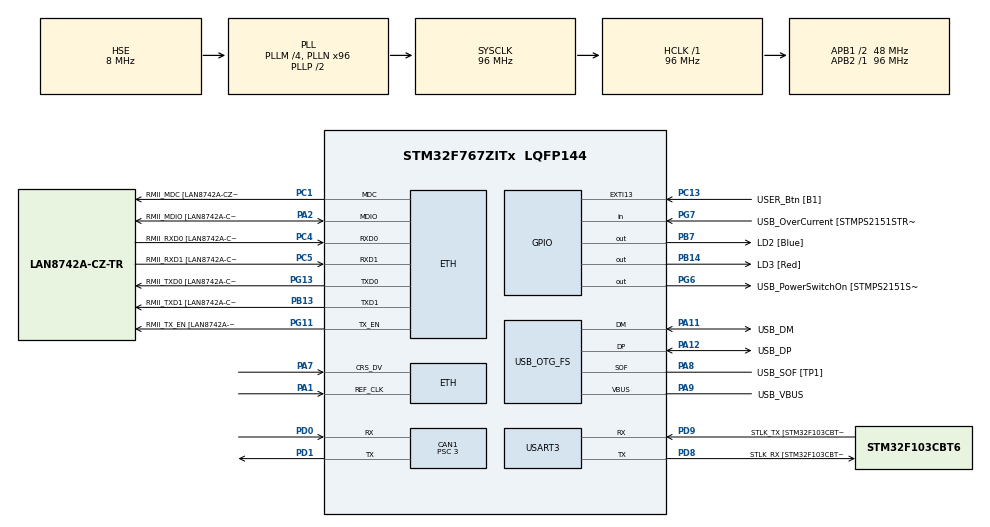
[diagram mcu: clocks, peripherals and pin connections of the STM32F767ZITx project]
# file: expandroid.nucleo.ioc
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CAN1.BS1=CAN_BS1_12TQ
CAN1.BS2=CAN_BS2_3TQ
CAN1.CalculateBaudRate=1000000
CAN1.CalculateTimeBit=1000
CAN1.CalculateTimeQuantum=62.5
CAN1.Prescaler=3
ETH.MediaInterface=HAL_ETH_RMII_MODE
FREERTOS.Events01=buttonPressedEvent,Dynamic,NULL;motorInitEvent,Dynamic,NULL
FREERTOS.INCLUDE_vTaskCleanUpResources=1
FREERTOS.INCLUDE_xEventGroupSetBitFromISR=1
FREERTOS.Queues01=statusMessageQueue,16,uint8_t,0,Static,statusMessageQueueBuffer,statusMessageQueueControlBlock
FREERTOS.Tasks01=defaultTask,24,512,StartDefaultTask,Default,NULL,Dynamic,NULL,NULL;ledTask,8,1024,StartLedTask,Default,NULL,Static,ledTaskBuffer,ledTaskControlBlock;userBtnIrqClien,8,128,StartUserBtnIrqClientInit,Default,NULL,Static,userBtnIrqClienBuffer,userBtnIrqClienControlBlock;MotorControlTas,16,1024,MotorControlTask,Default,NULL,Static,MotorControlTasBuffer,MotorControlTasControlBlock;MotorCmdTask,8,1024,MotorCommandTask,Default,NULL,Static,MotorCmdTaskBuffer,MotorCmdTaskControlBlock;udpEchoBackTask,8,128,udpEchoBack,Default,NULL,Static,udpEchoBackTaskBuffer,udpEchoBackTaskControlBlock
FREERTOS.configUSE_NEWLIB_REENTRANT=1
LWIP.BSP.number=1
LWIP.GATEWAY_ADDRESS=192.168.137.001
LWIP.IP_ADDRESS=192.168.137.131
LWIP.LWIP_ALLOW_MEM_FREE_FROM_OTHER_CONTEXT=1
LWIP.LWIP_DHCP=0
LWIP.LWIP_ICMP=1
LWIP.LWIP_NETCONN_FULLDUPLEX=1
LWIP.LWIP_NETCONN_SEM_PER_THREAD=0
LWIP.LWIP_TCP=1
LWIP.NETMASK_ADDRESS=255.255.255.000
LWIP.Version=v2.1.2_Cube
LWIP0.BSP.STBoard=false
LWIP0.BSP.api=BSP_COMPONENT_DRIVER
LWIP0.BSP.component=LAN8742
LWIP0.BSP.instance=LAN8742
LWIP0.BSP.name=Driver_PHY
LWIP0.BSP.semaphore=S_LAN8742
LWIP0.BSP.solution=LAN8742
Mcu.Family=STM32F7
Mcu.Name=STM32F767ZITx
Mcu.Package=LQFP144
NVIC.CAN1_RX0_IRQn=true\:5\:0\:false\:false\:true\:true\:true\:true\:true
NVIC.CAN1_RX1_IRQn=true\:5\:0\:false\:false\:true\:true\:true\:true\:true
NVIC.ETH_IRQn=true\:5\:0\:false\:false\:true\:true\:false\:true\:true
NVIC.ETH_WKUP_IRQn=true\:5\:0\:false\:false\:true\:true\:true\:true\:true
NVIC.EXTI15_10_IRQn=true\:5\:0\:false\:false\:true\:true\:true\:true\:true
NVIC.OTG_FS_IRQn=true\:5\:0\:false\:false\:true\:true\:false\:true\:true
NVIC.PriorityGroup=NVIC_PRIORITYGROUP_4
NVIC.TIM1_UP_TIM10_IRQn=true\:5\:0\:false\:false\:true\:false\:false\:true\:true
NVIC.TimeBase=TIM1_UP_TIM10_IRQn
NVIC.TimeBaseIP=TIM1
PA1.Mode=RMII
PA1.Signal=ETH_REF_CLK
PA10.GPIO_Label=USB_ID
PA10.Signal=USB_OTG_FS_ID
PA11.GPIO_Label=USB_DM
PA11.Mode=Device_Only
PA11.Signal=USB_OTG_FS_DM
PA12.GPIO_Label=USB_DP
PA12.Mode=Device_Only
PA12.Signal=USB_OTG_FS_DP
PA13.GPIO_Label=TMS
PA13.Mode=Serial_Wire
PA13.Signal=SYS_JTMS-SWDIO
PA14.GPIO_Label=TCK
PA14.Mode=Serial_Wire
PA14.Signal=SYS_JTCK-SWCLK
PA2.GPIO_Label=RMII_MDIO [LAN8742A-CZ-TR_MDIO]
PA2.Mode=RMII
PA2.Signal=ETH_MDIO
PA7.Mode=RMII
PA7.Signal=ETH_CRS_DV
PA8.GPIO_Label=USB_SOF [TP1]
PA8.Mode=Activate_SOF_FS
PA8.Signal=USB_OTG_FS_SOF
PA9.GPIO_Label=USB_VBUS
PA9.Mode=Activate_VBUS
PA9.Signal=USB_OTG_FS_VBUS
PB0.Signal=ETH_RXD2
PB13.GPIO_Label=RMII_TXD1 [LAN8742A-CZ-TR_TXD1]
PB13.Mode=RMII
PB13.Signal=ETH_TXD1
PB14.GPIO_Label=LD3 [Red]
PB14.Signal=GPIO_Output
PB3.GPIO_Label=SWO
PB3.Signal=SYS_JTDO-SWO
PB7.GPIO_Label=LD2 [Blue]
PB7.Signal=GPIO_Output
PC1.GPIO_Label=RMII_MDC [LAN8742A-CZ-TR_MDC]
PC1.Mode=RMII
PC1.Signal=ETH_MDC
PC13.GPIO_Label=USER_Btn [B1]
PC13.Signal=GPXTI13
PC14/OSC32_IN.Mode=LSE-External-Oscillator
PC14/OSC32_IN.Signal=RCC_OSC32_IN
PC15/OSC32_OUT.Mode=LSE-External-Oscillator
PC15/OSC32_OUT.Signal=RCC_OSC32_OUT
PC4.GPIO_Label=RMII_RXD0 [LAN8742A-CZ-TR_RXD0]
PC4.Mode=RMII
PC4.Signal=ETH_RXD0
PC5.GPIO_Label=RMII_RXD1 [LAN8742A-CZ-TR_RXD1]
PC5.Mode=RMII
PC5.Signal=ETH_RXD1
PD0.Mode=CAN_Activate
PD0.Signal=CAN1_RX
PD1.Mode=CAN_Activate
PD1.Signal=CAN1_TX
PD8.GPIO_Label=STLK_RX [STM32F103CBT6_PA3]
PD8.Mode=Asynchronous
PD8.Signal=USART3_TX
PD9.GPIO_Label=STLK_TX [STM32F103CBT6_PA2]
PD9.Mode=Asynchronous
PD9.Signal=USART3_RX
PG11.GPIO_Label=RMII_TX_EN [LAN8742A-CZ-TR_TXEN]
PG11.Mode=RMII
PG11.Signal=ETH_TX_EN
PG13.GPIO_Label=RMII_TXD0 [LAN8742A-CZ-TR_TXD0]
PG13.Mode=RMII
PG13.Signal=ETH_TXD0
PG6.GPIO_Label=USB_PowerSwitchOn [STMPS2151STR_EN]
PG6.Signal=GPIO_Output
PG7.GPIO_Label=USB_OverCurrent [STMPS2151STR_FAULT]
PG7.Signal=GPIO_Input
PH0/OSC_IN.GPIO_Label=MCO [STM32F103CBT6_PA8]
PH0/OSC_IN.Mode=HSE-External-Clock-Source
PH0/OSC_IN.Signal=RCC_OSC_IN
PH1/OSC_OUT.Mode=HSE-External-Clock-Source
PH1/OSC_OUT.Signal=RCC_OSC_OUT
ProjectManager.HeapSize=0x200
ProjectManager.StackSize=0x400
ProjectManager.TargetToolchain=Makefile
RCC.48MHZClocksFreq_Value=24000000
RCC.AHBFreq_Value=96000000
RCC.APB1CLKDivider=RCC_HCLK_DIV2
RCC.APB1Freq_Value=48000000
RCC.APB1TimFreq_Value=96000000
RCC.APB2Freq_Value=96000000
RCC.APB2TimFreq_Value=96000000
RCC.CortexFreq_Value=96000000
RCC.HCLKFreq_Value=96000000
RCC.HSE_VALUE=8000000
RCC.HSI_VALUE=16000000
RCC.PLLM=4
RCC.PLLMUL=RCC_PLL_MUL9
RCC.PLLN=96
RCC.PLLQ=4
RCC.PRESCALERUSB=RCC_USBCLKSOURCE_PLL_DIV1_5
RCC.SYSCLKFreq_VALUE=96000000
RCC.SYSCLKSource=RCC_SYSCLKSOURCE_PLLCLK
RCC.SYSCLKSourceVirtual=RCC_SYSCLKSOURCE_PLLCLK
RCC.USBFreq_Value=48000000
RCC.VCOOutputFreq_Value=192000000
USART3.VirtualMode-Asynchronous=VM_ASYNC
USB_DEVICE.CLASS_NAME_FS=CDC
USB_DEVICE.VirtualMode-CDC_FS=Cdc
USB_DEVICE.VirtualModeFS=Cdc_FS
USB_OTG_FS.VirtualMode=Device_Only
VP_FREERTOS_VS_CMSIS_V2.Mode=CMSIS_V2
VP_LWIP_VS_Enabled.Mode=Enabled
VP_SYS_VS_tim1.Mode=TIM1
VP_USB_DEVICE_VS_USB_DEVICE_CDC_FS.Mode=CDC_FS
board=NUCLEO-F767ZI

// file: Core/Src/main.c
/* USER CODE BEGIN Header */
/**
  ******************************************************************************
  * @file           : main.c
  * @brief          : Main program body
  ******************************************************************************
  * @attention
  *
  * Copyright (c) 2023 STMicroelectronics.
  * All rights reserved.
  *
  * This software is licensed under terms that can be found in the LICENSE file
  * in the root directory of this software component.
  * If no LICENSE file comes with this software, it is provided AS-IS.
  *
  ******************************************************************************
  */
/* USER CODE END Header */
#include "main.h"
#include "cmsis_os.h"
#include "can.h"
#include "lwip.h"
#include "usart.h"
#include "usb_device.h"
#include "gpio.h"

/* USER CODE BEGIN Includes */
#include "lwip/opt.h"
#include "lwip/arch.h"
#include "lwip/api.h"
#include "lwip/udp.h"
#include "lwip/sockets.h"
#include "string.h"
#include "cJSON/cJSON.h"
/* USER CODE END Includes */

void SystemClock_Config(void);
void MX_FREERTOS_Init(void);

int main(void)
{

  /* MCU Configuration--------------------------------------------------------*/

  /* Reset of all peripherals, Initializes the Flash interface and the Systick. */
  HAL_Init();

  /* Configure the system clock */
  SystemClock_Config();

  /* Initialize all configured peripherals */
  MX_GPIO_Init();
  MX_USART3_UART_Init();
  MX_CAN1_Init();

  /* Init scheduler */
  osKernelInitialize();  /* Call init function for freertos objects (in freertos.c) */
  MX_FREERTOS_Init();

  /* Start scheduler */
  osKernelStart();
  /* We should never get here as control is now taken by the scheduler */
  /* Infinite loop */
  /* USER CODE BEGIN WHILE */
  // osThreadExit();
  while (1)
  {
    /* USER CODE END WHILE */

  }
}

void SystemClock_Config(void)
{
  RCC_OscInitTypeDef RCC_OscInitStruct = {0};
  RCC_ClkInitTypeDef RCC_ClkInitStruct = {0};

  /** Configure LSE Drive Capability
  */
  HAL_PWR_EnableBkUpAccess();

  /** Configure the main internal regulator output voltage
  */
  __HAL_RCC_PWR_CLK_ENABLE();
  __HAL_PWR_VOLTAGESCALING_CONFIG(PWR_REGULATOR_VOLTAGE_SCALE3);

  /** Initializes the RCC Oscillators according to the specified parameters
  * in the RCC_OscInitTypeDef structure.
  */
  RCC_OscInitStruct.OscillatorType = RCC_OSCILLATORTYPE_HSE;
  RCC_OscInitStruct.HSEState = RCC_HSE_BYPASS;
  RCC_OscInitStruct.PLL.PLLState = RCC_PLL_ON;
  RCC_OscInitStruct.PLL.PLLSource = RCC_PLLSOURCE_HSE;
  RCC_OscInitStruct.PLL.PLLM = 4;
  RCC_OscInitStruct.PLL.PLLN = 96;
  RCC_OscInitStruct.PLL.PLLP = RCC_PLLP_DIV2;
  RCC_OscInitStruct.PLL.PLLQ = 4;
  RCC_OscInitStruct.PLL.PLLR = 2;
  if (HAL_RCC_OscConfig(&RCC_OscInitStruct) != HAL_OK)
  {
    Error_Handler();
  }

  /** Activate the Over-Drive mode
  */
  if (HAL_PWREx_EnableOverDrive() != HAL_OK)
  {
    Error_Handler();
  }

  /** Initializes the CPU, AHB and APB buses clocks
  */
  RCC_ClkInitStruct.ClockType = RCC_CLOCKTYPE_HCLK|RCC_CLOCKTYPE_SYSCLK
                              |RCC_CLOCKTYPE_PCLK1|RCC_CLOCKTYPE_PCLK2;
  RCC_ClkInitStruct.SYSCLKSource = RCC_SYSCLKSOURCE_PLLCLK;
  RCC_ClkInitStruct.AHBCLKDivider = RCC_SYSCLK_DIV1;
  RCC_ClkInitStruct.APB1CLKDivider = RCC_HCLK_DIV2;
  RCC_ClkInitStruct.APB2CLKDivider = RCC_HCLK_DIV1;

  if (HAL_RCC_ClockConfig(&RCC_ClkInitStruct, FLASH_LATENCY_3) != HAL_OK)
  {
    Error_Handler();
  }
}

void HAL_TIM_PeriodElapsedCallback(TIM_HandleTypeDef *htim)
{
  if (htim->Instance == TIM1) {
    HAL_IncTick();
  }
}

void Error_Handler(void)
{
  __disable_irq();
  while (1)
  {
  }
}

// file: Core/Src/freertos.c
/* USER CODE BEGIN Header */
/**
 ******************************************************************************
 * File Name          : freertos.c
 * Description        : Code for freertos applications
 ******************************************************************************
 * @attention
 *
 * Copyright (c) 2023 STMicroelectronics.
 * All rights reserved.
 *
 * This software is licensed under terms that can be found in the LICENSE file
 * in the root directory of this software component.
 * If no LICENSE file comes with this software, it is provided AS-IS.
 *
 ******************************************************************************
 */
/* USER CODE END Header */

#include "FreeRTOS.h"

#include "cmsis_os.h"
#include "main.h"
#include "task.h"

/* USER CODE BEGIN Includes */
#include "can.h"
#include "expandroid_can.h"
#include "expandroid_config.h"
#include "expandroid_led.h"
#include "expandroid_robomaster.h"
#include "expandroid_udp.h"
#include "lwip/sockets.h"
#include "stdbool.h"
/* USER CODE END Includes */

typedef StaticTask_t osStaticThreadDef_t;
typedef StaticQueue_t osStaticMessageQDef_t;

/* Definitions for defaultTask */
osThreadId_t defaultTaskHandle;
const osThreadAttr_t defaultTask_attributes = {
    .name = "defaultTask",
    .stack_size = 512 * 4,
    .priority = (osPriority_t)osPriorityNormal,
};
/* Definitions for ledTask */
osThreadId_t ledTaskHandle;
uint32_t ledTaskBuffer[1024];
osStaticThreadDef_t ledTaskControlBlock;
const osThreadAttr_t ledTask_attributes = {
    .name = "ledTask",
    .cb_mem = &ledTaskControlBlock,
    .cb_size = sizeof(ledTaskControlBlock),
    .stack_mem = &ledTaskBuffer[0],
    .stack_size = sizeof(ledTaskBuffer),
    .priority = (osPriority_t)osPriorityLow,
};
/* Definitions for userBtnIrqClien */
osThreadId_t userBtnIrqClienHandle;
uint32_t userBtnIrqClienBuffer[128];
osStaticThreadDef_t userBtnIrqClienControlBlock;
const osThreadAttr_t userBtnIrqClien_attributes = {
    .name = "userBtnIrqClien",
    .cb_mem = &userBtnIrqClienControlBlock,
    .cb_size = sizeof(userBtnIrqClienControlBlock),
    .stack_mem = &userBtnIrqClienBuffer[0],
    .stack_size = sizeof(userBtnIrqClienBuffer),
    .priority = (osPriority_t)osPriorityLow,
};
/* Definitions for MotorControlTas */
osThreadId_t MotorControlTasHandle;
uint32_t MotorControlTasBuffer[1024];
osStaticThreadDef_t MotorControlTasControlBlock;
const osThreadAttr_t MotorControlTas_attributes = {
    .name = "MotorControlTas",
    .cb_mem = &MotorControlTasControlBlock,
    .cb_size = sizeof(MotorControlTasControlBlock),
    .stack_mem = &MotorControlTasBuffer[0],
    .stack_size = sizeof(MotorControlTasBuffer),
    .priority = (osPriority_t)osPriorityBelowNormal,
};
/* Definitions for MotorCmdTask */
osThreadId_t MotorCmdTaskHandle;
uint32_t MotorCmdTaskBuffer[1024];
osStaticThreadDef_t MotorCmdTaskControlBlock;
const osThreadAttr_t MotorCmdTask_attributes = {
    .name = "MotorCmdTask",
    .cb_mem = &MotorCmdTaskControlBlock,
    .cb_size = sizeof(MotorCmdTaskControlBlock),
    .stack_mem = &MotorCmdTaskBuffer[0],
    .stack_size = sizeof(MotorCmdTaskBuffer),
    .priority = (osPriority_t)osPriorityLow,
};
/* Definitions for udpEchoBackTask */
osThreadId_t udpEchoBackTaskHandle;
uint32_t udpEchoBackTaskBuffer[128];
osStaticThreadDef_t udpEchoBackTaskControlBlock;
const osThreadAttr_t udpEchoBackTask_attributes = {
    .name = "udpEchoBackTask",
    .cb_mem = &udpEchoBackTaskControlBlock,
    .cb_size = sizeof(udpEchoBackTaskControlBlock),
    .stack_mem = &udpEchoBackTaskBuffer[0],
    .stack_size = sizeof(udpEchoBackTaskBuffer),
    .priority = (osPriority_t)osPriorityLow,
};
/* Definitions for statusMessageQueue */
osMessageQueueId_t statusMessageQueueHandle;
uint8_t statusMessageQueueBuffer[16 * sizeof(uint8_t)];
osStaticMessageQDef_t statusMessageQueueControlBlock;
const osMessageQueueAttr_t statusMessageQueue_attributes = {
    .name = "statusMessageQueue",
    .cb_mem = &statusMessageQueueControlBlock,
    .cb_size = sizeof(statusMessageQueueControlBlock),
    .mq_mem = &statusMessageQueueBuffer,
    .mq_size = sizeof(statusMessageQueueBuffer)};
/* Definitions for buttonPressedEvent */
osEventFlagsId_t buttonPressedEventHandle;
const osEventFlagsAttr_t buttonPressedEvent_attributes = {
    .name = "buttonPressedEvent"};
/* Definitions for motorInitEvent */
osEventFlagsId_t motorInitEventHandle;
const osEventFlagsAttr_t motorInitEvent_attributes = {.name = "motorInitEvent"};

void StartDefaultTask(void *argument);
void StartLedTask(void *argument);
void StartUserBtnIrqClientInit(void *argument);
void MotorControlTask(void *argument);
void MotorCommandTask(void *argument);
void udpEchoBack(void *argument);

extern void MX_LWIP_Init(void);
extern void MX_USB_DEVICE_Init(void);
void MX_FREERTOS_Init(void); /* (MISRA C 2004 rule 8.1) */

void MX_FREERTOS_Init(void) {

  /* Create the queue(s) */
  /* creation of statusMessageQueue */
  statusMessageQueueHandle =
      osMessageQueueNew(16, sizeof(uint8_t), &statusMessageQueue_attributes);

  /* Create the thread(s) */
  /* creation of defaultTask */
  defaultTaskHandle =
      osThreadNew(StartDefaultTask, NULL, &defaultTask_attributes);

  /* creation of ledTask */
  ledTaskHandle = osThreadNew(StartLedTask, NULL, &ledTask_attributes);

  /* creation of userBtnIrqClien */
  userBtnIrqClienHandle =
      osThreadNew(StartUserBtnIrqClientInit, NULL, &userBtnIrqClien_attributes);

  /* creation of MotorControlTas */
  MotorControlTasHandle =
      osThreadNew(MotorControlTask, NULL, &MotorControlTas_attributes);

  /* creation of MotorCmdTask */
  MotorCmdTaskHandle =
      osThreadNew(MotorCommandTask, NULL, &MotorCmdTask_attributes);

  /* creation of udpEchoBackTask */
  udpEchoBackTaskHandle =
      osThreadNew(udpEchoBack, NULL, &udpEchoBackTask_attributes);

  /* Create the event(s) */
  /* creation of buttonPressedEvent */
  buttonPressedEventHandle = osEventFlagsNew(&buttonPressedEvent_attributes);

  /* creation of motorInitEvent */
  motorInitEventHandle = osEventFlagsNew(&motorInitEvent_attributes);

}

void StartDefaultTask(void *argument) {
  /* init code for LWIP */
  MX_LWIP_Init();

  /* init code for USB_DEVICE */
  MX_USB_DEVICE_Init();
  /* USER CODE BEGIN StartDefaultTask */
  osThreadExit();
  /* USER CODE END StartDefaultTask */
}

void StartLedTask(void *argument) {
  /* USER CODE BEGIN StartLedTask */
  int sock;

  struct sockaddr_in client_address;
  socklen_t client_address_len;

  create_udp_server(PORT_LED, &sock, &client_address, &client_address_len,
                    SOCKET_BLOCKING);

  client_address_len = sizeof(client_address);

  for (;;) {
    char recv_buffer[128];
    int bytes_read =
        lwip_recvfrom(sock, recv_buffer, sizeof(recv_buffer), 0,
                      (struct sockaddr *)&client_address, &client_address_len);
    if (bytes_read > 0) {
      // Null-terminate the received data
      recv_buffer[bytes_read] = '\0';

      // Parse the JSON data
      cJSON *json = cJSON_Parse(recv_buffer);
      if (json != NULL) {
        cJSON *led2 = cJSON_GetObjectItem(json, "led2");
        control_led_from_json(led2, LD2_GPIO_Port, LD2_Pin);
        cJSON *led3 = cJSON_GetObjectItem(json, "led3");
        control_led_from_json(led3, LD3_GPIO_Port, LD3_Pin);
        cJSON_Delete(json);
      }
    }
    // sleep
    osDelay(10);
  }
  /* USER CODE END StartLedTask */
}

void StartUserBtnIrqClientInit(void *argument) {
  /* USER CODE BEGIN StartUserBtnIrqClientInit */
  server_info server;
  char msg_buffer[128];
  create_udp(&server, PORT_BTN, msg_buffer, sizeof(msg_buffer));

  for (;;) {
    osEventFlagsWait(buttonPressedEventHandle, 0x00000001U, osFlagsWaitAll,
                     osWaitForever);
    uint32_t time = osKernelGetTickCount();
    char message[50];
    sprintf(message, "{\"time\":%lu}", time);
    send_udp(&server, message, strlen(message));
  }
  /* USER CODE END StartUserBtnIrqClientInit */
}

void MotorControlTask(void *argument) {
  /* USER CODE BEGIN MotorControlTask */
  start_can(&hcan1);
  if (HAL_CAN_ActivateNotification(&hcan1, CAN_IT_RX_FIFO0_MSG_PENDING) !=
      HAL_OK) {
    Error_Handler();
  }
  /* Infinite loop */
  for (;;) {
    CAN_TxHeaderTypeDef header;
    uint8_t message[8] = {0};
    get_motor_tx_message(&header, message);
    HAL_CAN_AddTxMessage(&hcan1, &header, message, NULL);
    osDelay(1);
  }
  /* USER CODE END MotorControlTask */
}

void MotorCommandTask(void *argument) {
  /* USER CODE BEGIN MotorCommandTask */
  server_info server;
  char msg_buffer[512];

  create_udp(&server, PORT_MOTOR, msg_buffer, sizeof(msg_buffer));

  nonblocking_udp(&server);

  init_motors();

  while (1) {
    /* Infinite loop */
    recv_dtype type = recv_udp(&server);
    if (type == RECV_DATA) {
      cJSON *json = cJSON_Parse(server.msg_buffer);
      if (json != NULL) {
        process_motor_command(json);
        cJSON_Delete(json);
      }
    }
    get_motor_command_feedback(server.msg_buffer);
    send_udp(&server, server.msg_buffer, strlen(server.msg_buffer));
    osDelay(10);
  }
  /* USER CODE END MotorCommandTask */
}

void udpEchoBack(void *argument) {
  /* USER CODE BEGIN udpEchoBack */
  // server_info server;
  // char recv_buffer[128];

  // create_udp(&server, PORT_MOTOR, recv_buffer, sizeof(recv_buffer));
  for (;;) {
    osDelay(1);
  }
  /* USER CODE END udpEchoBack */
}
